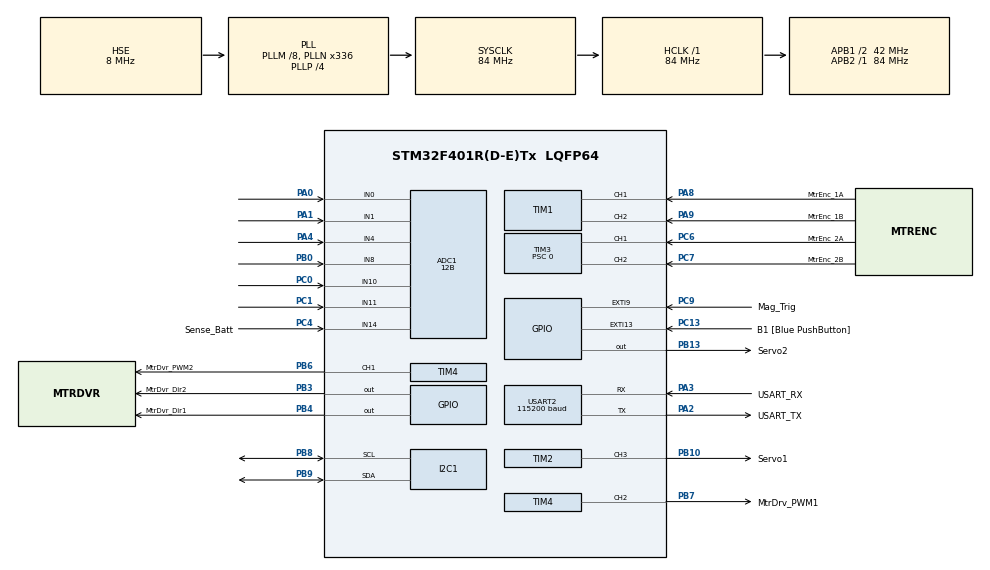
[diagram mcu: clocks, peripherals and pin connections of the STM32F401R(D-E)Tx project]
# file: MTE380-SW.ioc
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ADC1.Channel-2\#ChannelRegularConversion=ADC_CHANNEL_0
ADC1.Channel-3\#ChannelRegularConversion=ADC_CHANNEL_1
ADC1.Channel-4\#ChannelRegularConversion=ADC_CHANNEL_4
ADC1.Channel-5\#ChannelRegularConversion=ADC_CHANNEL_8
ADC1.Channel-6\#ChannelRegularConversion=ADC_CHANNEL_11
ADC1.Channel-7\#ChannelRegularConversion=ADC_CHANNEL_10
ADC1.Channel-8\#ChannelRegularConversion=ADC_CHANNEL_14
ADC1.ClockPrescaler=ADC_CLOCK_SYNC_PCLK_DIV4
ADC1.ContinuousConvMode=DISABLE
ADC1.DMAContinuousRequests=DISABLE
ADC1.DiscontinuousConvMode=DISABLE
ADC1.EOCSelection=ADC_EOC_SEQ_CONV
ADC1.InjNumberOfConversion=0
ADC1.NbrOfConversion=7
ADC1.NbrOfConversionFlag=1
ADC1.Rank-2\#ChannelRegularConversion=1
ADC1.Rank-3\#ChannelRegularConversion=2
ADC1.Rank-4\#ChannelRegularConversion=3
ADC1.Rank-5\#ChannelRegularConversion=4
ADC1.Rank-6\#ChannelRegularConversion=5
ADC1.Rank-7\#ChannelRegularConversion=6
ADC1.Rank-8\#ChannelRegularConversion=7
ADC1.Resolution=ADC_RESOLUTION_12B
ADC1.SamplingTime-2\#ChannelRegularConversion=ADC_SAMPLETIME_480CYCLES
ADC1.SamplingTime-3\#ChannelRegularConversion=ADC_SAMPLETIME_480CYCLES
ADC1.SamplingTime-4\#ChannelRegularConversion=ADC_SAMPLETIME_480CYCLES
ADC1.SamplingTime-5\#ChannelRegularConversion=ADC_SAMPLETIME_480CYCLES
ADC1.SamplingTime-6\#ChannelRegularConversion=ADC_SAMPLETIME_480CYCLES
ADC1.SamplingTime-7\#ChannelRegularConversion=ADC_SAMPLETIME_480CYCLES
ADC1.SamplingTime-8\#ChannelRegularConversion=ADC_SAMPLETIME_3CYCLES
ADC1.ScanConvMode=ENABLE
ADC1.master=1
Dma.ADC1.0.Direction=DMA_PERIPH_TO_MEMORY
Dma.ADC1.0.FIFOMode=DMA_FIFOMODE_DISABLE
Dma.ADC1.0.Instance=DMA2_Stream0
Dma.ADC1.0.MemDataAlignment=DMA_MDATAALIGN_HALFWORD
Dma.ADC1.0.MemInc=DMA_MINC_ENABLE
Dma.ADC1.0.Mode=DMA_NORMAL
Dma.ADC1.0.PeriphDataAlignment=DMA_PDATAALIGN_HALFWORD
Dma.ADC1.0.PeriphInc=DMA_PINC_DISABLE
Dma.ADC1.0.Priority=DMA_PRIORITY_HIGH
Dma.Request0=ADC1
Dma.Request1=TIM2_CH3/UP
Dma.Request2=USART2_TX
Dma.TIM2_CH3/UP.1.Direction=DMA_MEMORY_TO_PERIPH
Dma.TIM2_CH3/UP.1.FIFOMode=DMA_FIFOMODE_DISABLE
Dma.TIM2_CH3/UP.1.Instance=DMA1_Stream1
Dma.TIM2_CH3/UP.1.MemDataAlignment=DMA_MDATAALIGN_HALFWORD
Dma.TIM2_CH3/UP.1.MemInc=DMA_MINC_ENABLE
Dma.TIM2_CH3/UP.1.Mode=DMA_NORMAL
Dma.TIM2_CH3/UP.1.PeriphDataAlignment=DMA_PDATAALIGN_HALFWORD
Dma.TIM2_CH3/UP.1.PeriphInc=DMA_PINC_DISABLE
Dma.TIM2_CH3/UP.1.Priority=DMA_PRIORITY_LOW
Dma.USART2_TX.2.Direction=DMA_MEMORY_TO_PERIPH
Dma.USART2_TX.2.FIFOMode=DMA_FIFOMODE_DISABLE
Dma.USART2_TX.2.Instance=DMA1_Stream6
Dma.USART2_TX.2.MemDataAlignment=DMA_MDATAALIGN_BYTE
Dma.USART2_TX.2.MemInc=DMA_MINC_ENABLE
Dma.USART2_TX.2.Mode=DMA_NORMAL
Dma.USART2_TX.2.PeriphDataAlignment=DMA_PDATAALIGN_BYTE
Dma.USART2_TX.2.PeriphInc=DMA_PINC_DISABLE
Dma.USART2_TX.2.Priority=DMA_PRIORITY_VERY_HIGH
Mcu.Family=STM32F4
Mcu.Name=STM32F401R(D-E)Tx
Mcu.Package=LQFP64
NVIC.ADC_IRQn=true\:0\:0\:false\:false\:true\:true\:true\:true
NVIC.DMA1_Stream1_IRQn=true\:0\:0\:false\:false\:true\:false\:true\:true
NVIC.DMA1_Stream6_IRQn=true\:0\:0\:false\:false\:true\:false\:true\:true
NVIC.DMA2_Stream0_IRQn=true\:0\:0\:false\:false\:true\:false\:true\:true
NVIC.EXTI9_5_IRQn=true\:0\:0\:false\:false\:true\:true\:true\:true
NVIC.I2C1_EV_IRQn=true\:0\:0\:false\:false\:true\:true\:true\:true
NVIC.PriorityGroup=NVIC_PRIORITYGROUP_0
NVIC.TIM1_BRK_TIM9_IRQn=true\:0\:0\:false\:false\:true\:true\:true\:true
NVIC.TIM1_UP_TIM10_IRQn=true\:0\:0\:false\:false\:true\:true\:true\:true
NVIC.TIM5_IRQn=true\:0\:0\:false\:false\:true\:true\:true\:true
NVIC.USART2_IRQn=true\:0\:0\:false\:false\:true\:true\:true\:true
PA0-WKUP.Signal=ADCx_IN0
PA1.Signal=ADCx_IN1
PA13.GPIO_Label=TMS
PA13.Mode=Serial_Wire
PA13.Signal=SYS_JTMS-SWDIO
PA14.GPIO_Label=TCK
PA14.Mode=Serial_Wire
PA14.Signal=SYS_JTCK-SWCLK
PA2.GPIO_Label=USART_TX
PA2.GPIO_Mode=GPIO_MODE_AF_PP
PA2.GPIO_PuPd=GPIO_NOPULL
PA2.GPIO_Speed=GPIO_SPEED_FREQ_LOW
PA2.Mode=Asynchronous
PA2.Signal=USART2_TX
PA3.GPIO_Label=USART_RX
PA3.GPIO_Mode=GPIO_MODE_AF_PP
PA3.GPIO_PuPd=GPIO_NOPULL
PA3.GPIO_Speed=GPIO_SPEED_FREQ_LOW
PA3.Mode=Asynchronous
PA3.Signal=USART2_RX
PA4.Signal=ADCx_IN4
PA8.GPIO_Label=MtrEnc_1A
PA8.Signal=S_TIM1_CH1
PA9.GPIO_Label=MtrEnc_1B
PA9.Signal=S_TIM1_CH2
PB0.Signal=ADCx_IN8
PB10.GPIO_Label=Servo1
PB10.Signal=S_TIM2_CH3
PB13.GPIO_Label=Servo2
PB13.Signal=GPIO_Output
PB3.GPIO_Label=MtrDvr_Dir2
PB3.Signal=GPIO_Output
PB4.GPIO_Label=MtrDvr_Dir1
PB4.Signal=GPIO_Output
PB6.GPIO_Label=MtrDvr_PWM2
PB6.Signal=S_TIM4_CH1
PB7.GPIO_Label=MtrDrv_PWM1
PB7.Signal=S_TIM4_CH2
PB8.GPIO_Pu=GPIO_NOPULL
PB8.Mode=I2C
PB8.Signal=I2C1_SCL
PB9.GPIO_Pu=GPIO_NOPULL
PB9.Mode=I2C
PB9.Signal=I2C1_SDA
PC0.Signal=ADCx_IN10
PC1.Signal=ADCx_IN11
PC13-ANTI_TAMP.GPIO_Label=B1 [Blue PushButton]
PC13-ANTI_TAMP.GPIO_ModeDefaultEXTI=GPIO_MODE_IT_FALLING
PC13-ANTI_TAMP.GPIO_PuPd=GPIO_NOPULL
PC13-ANTI_TAMP.Signal=GPXTI13
PC14-OSC32_IN.Mode=LSE-External-Oscillator
PC14-OSC32_IN.Signal=RCC_OSC32_IN
PC15-OSC32_OUT.Mode=LSE-External-Oscillator
PC15-OSC32_OUT.Signal=RCC_OSC32_OUT
PC4.GPIO_Label=Sense_Batt
PC4.Signal=ADCx_IN14
PC6.GPIO_Label=MtrEnc_2A
PC6.Signal=S_TIM3_CH1
PC7.GPIO_Label=MtrEnc_2B
PC7.Signal=S_TIM3_CH2
PC9.GPIO_Label=Mag_Trig
PC9.Signal=GPXTI9
PH0\ -\ OSC_IN.Mode=HSE-External-Clock-Source
PH0\ -\ OSC_IN.Signal=RCC_OSC_IN
PH1\ -\ OSC_OUT.Mode=HSE-External-Clock-Source
PH1\ -\ OSC_OUT.Signal=RCC_OSC_OUT
ProjectManager.HeapSize=0x200
ProjectManager.StackSize=0x400
ProjectManager.TargetToolchain=STM32CubeIDE
RCC.48MHZClocksFreq_Value=48000000
RCC.AHBFreq_Value=84000000
RCC.APB1CLKDivider=RCC_HCLK_DIV2
RCC.APB1Freq_Value=42000000
RCC.APB1TimFreq_Value=84000000
RCC.APB2Freq_Value=84000000
RCC.APB2TimFreq_Value=84000000
RCC.CortexFreq_Value=84000000
RCC.HCLKFreq_Value=84000000
RCC.HSE_VALUE=8000000
RCC.HSI_VALUE=16000000
RCC.PLLM=8
RCC.PLLN=336
RCC.PLLP=RCC_PLLP_DIV4
RCC.PLLQ=7
RCC.PLLSourceVirtual=RCC_PLLSOURCE_HSE
RCC.SYSCLKFreq_VALUE=84000000
RCC.SYSCLKSource=RCC_SYSCLKSOURCE_PLLCLK
RCC.VCOOutputFreq_Value=336000000
SH.ADCx_IN0.0=ADC1_IN0,IN0
SH.ADCx_IN1.0=ADC1_IN1,IN1
SH.ADCx_IN10.0=ADC1_IN10,IN10
SH.ADCx_IN11.0=ADC1_IN11,IN11
SH.ADCx_IN14.0=ADC1_IN14,IN14
SH.ADCx_IN4.0=ADC1_IN4,IN4
SH.ADCx_IN8.0=ADC1_IN8,IN8
SH.S_TIM1_CH1.0=TIM1_CH1,Encoder_Interface
SH.S_TIM1_CH2.0=TIM1_CH2,Encoder_Interface
SH.S_TIM2_CH3.0=TIM2_CH3,PWM Generation3 CH3
SH.S_TIM3_CH1.0=TIM3_CH1,Encoder_Interface
SH.S_TIM3_CH2.0=TIM3_CH2,Encoder_Interface
SH.S_TIM4_CH1.0=TIM4_CH1,PWM Generation1 CH1
SH.S_TIM4_CH2.0=TIM4_CH2,PWM Generation2 CH2
TIM1.AutoReloadPreload=TIM_AUTORELOAD_PRELOAD_DISABLE
TIM1.EncoderMode=TIM_ENCODERMODE_TI12
TIM10.ClockDivision=TIM_CLOCKDIVISION_DIV4
TIM2.AutoReloadPreload=TIM_AUTORELOAD_PRELOAD_DISABLE
TIM2.Channel-PWM\ Generation3\ CH3=TIM_CHANNEL_3
TIM2.ClockDivision=TIM_CLOCKDIVISION_DIV2
TIM2.Period=262144-1
TIM2.Prescaler=1
TIM3.AutoReloadPreload=TIM_AUTORELOAD_PRELOAD_DISABLE
TIM3.EncoderMode=TIM_ENCODERMODE_TI12
TIM3.Period=65535
TIM3.Prescaler=0
TIM4.Channel-PWM\ Generation1\ CH1=TIM_CHANNEL_1
TIM4.Channel-PWM\ Generation2\ CH2=TIM_CHANNEL_2
TIM4.Period=16383
TIM4.Prescaler=2-1
TIM5.AutoReloadPreload=TIM_AUTORELOAD_PRELOAD_DISABLE
TIM5.Period=83999
TIM9.ClockDivision=TIM_CLOCKDIVISION_DIV4
USART2.BaudRate=115200
USART2.VirtualMode=VM_ASYNC
VP_TIM10_VS_ClockSourceINT.Mode=Enable_Timer
VP_TIM2_VS_ClockSourceINT.Mode=Internal
VP_TIM4_VS_ClockSourceINT.Mode=Internal
VP_TIM5_VS_ClockSourceINT.Mode=Internal
VP_TIM9_VS_ClockSourceINT.Mode=Internal
board=NUCLEO-F401RE

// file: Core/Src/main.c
/* USER CODE BEGIN Header */
/**
  ******************************************************************************
  * @file           : main.c
  * @brief          : Main program body
  ******************************************************************************
  * @attention
  *
  * Copyright (c) 2024 STMicroelectronics.
  * All rights reserved.
  *
  * This software is licensed under terms that can be found in the LICENSE file
  * in the root directory of this software component.
  * If no LICENSE file comes with this software, it is provided AS-IS.
  *
  ******************************************************************************
  */
/* USER CODE END Header */
#include "main.h"
#include "adc.h"
#include "dma.h"
#include "i2c.h"
#include "tim.h"
#include "usart.h"
#include "gpio.h"

/* USER CODE BEGIN Includes */
#include "motor.h"
#include "command.h"
#include "control.h"
#include "sensor.h"
#include "flash.h"
#include "servo.h"
#include "compass.h"
#include "helper.h"
#include "config.h"
#include "state.h"
#include "telemetry.h"
#include "speed.h"
#include "music.h"
#include "button.h"

#include "stm32f4xx_hal.h"

#include <stdio.h>
/* USER CODE END Includes */

/* USER CODE BEGIN PV */
static volatile bool start_loop;
/* USER CODE END PV */

void SystemClock_Config(void);

int main(void)
{

  /* MCU Configuration--------------------------------------------------------*/

  /* Reset of all peripherals, Initializes the Flash interface and the Systick. */
  HAL_Init();

  /* Configure the system clock */
  SystemClock_Config();

  /* Initialize all configured peripherals */
  MX_GPIO_Init();
  MX_DMA_Init();
  MX_USART2_UART_Init();
  MX_ADC1_Init();
  MX_TIM3_Init();
  MX_TIM4_Init();
  MX_TIM2_Init();
  MX_TIM1_Init();
  MX_TIM5_Init();
  MX_I2C1_Init();
  MX_TIM9_Init();
  MX_TIM10_Init();
  /* USER CODE BEGIN 2 */

  config_load();
  sensor_init();
  button_init();
  compass_init();
  command_init();
  sm_init();
  control_init();
  servo_init();
  motor_init();
  speed_init();
  tele_init();
  music_init();

  HAL_TIM_Base_Start_IT(&htim5);

  /* USER CODE END 2 */

  /* Infinite loop */
  while (1)
  {

    /* USER CODE BEGIN 3 */
    while(!start_loop);
    start_loop = false;

    // order is important
    sensor_run();
    compass_run();
    button_run();
    command_run();
    sm_run();
    control_run();
    servo_run();
    motor_run();
    speed_run();
    tele_run();
    music_run();
    uart_flush();
  }
  /* USER CODE END 3 */
}

void SystemClock_Config(void)
{
  RCC_OscInitTypeDef RCC_OscInitStruct = {0};
  RCC_ClkInitTypeDef RCC_ClkInitStruct = {0};

  /** Configure the main internal regulator output voltage
  */
  __HAL_RCC_PWR_CLK_ENABLE();
  __HAL_PWR_VOLTAGESCALING_CONFIG(PWR_REGULATOR_VOLTAGE_SCALE2);

  /** Initializes the RCC Oscillators according to the specified parameters
  * in the RCC_OscInitTypeDef structure.
  */
  RCC_OscInitStruct.OscillatorType = RCC_OSCILLATORTYPE_HSE;
  RCC_OscInitStruct.HSEState = RCC_HSE_BYPASS;
  RCC_OscInitStruct.PLL.PLLState = RCC_PLL_ON;
  RCC_OscInitStruct.PLL.PLLSource = RCC_PLLSOURCE_HSE;
  RCC_OscInitStruct.PLL.PLLM = 8;
  RCC_OscInitStruct.PLL.PLLN = 336;
  RCC_OscInitStruct.PLL.PLLP = RCC_PLLP_DIV4;
  RCC_OscInitStruct.PLL.PLLQ = 7;
  if (HAL_RCC_OscConfig(&RCC_OscInitStruct) != HAL_OK)
  {
    Error_Handler();
  }

  /** Initializes the CPU, AHB and APB buses clocks
  */
  RCC_ClkInitStruct.ClockType = RCC_CLOCKTYPE_HCLK|RCC_CLOCKTYPE_SYSCLK
                              |RCC_CLOCKTYPE_PCLK1|RCC_CLOCKTYPE_PCLK2;
  RCC_ClkInitStruct.SYSCLKSource = RCC_SYSCLKSOURCE_PLLCLK;
  RCC_ClkInitStruct.AHBCLKDivider = RCC_SYSCLK_DIV1;
  RCC_ClkInitStruct.APB1CLKDivider = RCC_HCLK_DIV2;
  RCC_ClkInitStruct.APB2CLKDivider = RCC_HCLK_DIV1;

  if (HAL_RCC_ClockConfig(&RCC_ClkInitStruct, FLASH_LATENCY_2) != HAL_OK)
  {
    Error_Handler();
  }
}

/* USER CODE BEGIN 4 */
void HAL_TIM_PeriodElapsedCallback(TIM_HandleTypeDef* htim) {
  if(htim == &htim5) {
    start_loop = true;
  }
  motor_timerIT(htim);
}
/* USER CODE END 4 */

void Error_Handler(void)
{
  __disable_irq();
  while (1)
  {
  }
}

#ifdef  USE_FULL_ASSERT
/**
  * @brief  Reports the name of the source file and the source line number
  *         where the assert_param error has occurred.
  * @param  file: pointer to the source file name
  * @param  line: assert_param error line source number
  * @retval None
  */
void assert_failed(uint8_t *file, uint32_t line)
{
  /* USER CODE BEGIN 6 */
  /* User can add his own implementation to report the file name and line number,
     printf("Wrong parameters value: file %s on line %d\r\n", file, line) */
  /* USER CODE END 6 */
}
#endif /* USE_FULL_ASSERT */
